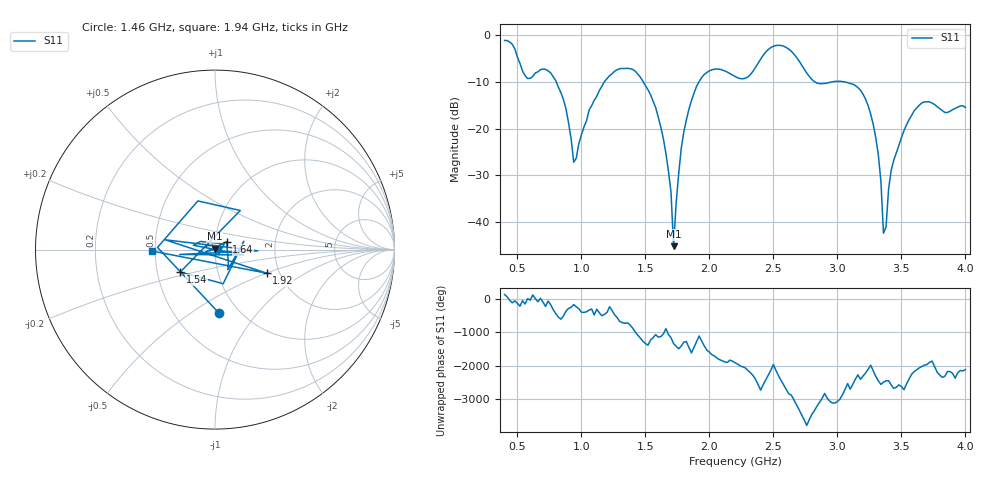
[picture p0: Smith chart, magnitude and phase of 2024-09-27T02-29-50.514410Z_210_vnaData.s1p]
!Created with skrf (http://scikit-rf.org).
# Hz S RI R 50.0
!freq ReS11 ImS11
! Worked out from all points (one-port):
!   181 points, 400 MHz to 4 GHz, reference 50 ohm
!   lowest |S11| = -45.1 dB at 1.72 GHz (marker M1), VSWR 1.01, Z = 49.8 + j0.526 ohm
!   |S11| at or under -10 dB: 803.3 MHz to 1.179 GHz (376.1 MHz wide, 37.9 % of centre); 1.482 GHz to 1.919 GHz (436.8 MHz wide, 25.7 % of centre); 3.044 GHz to end of sweep (the widest 3 of 4)
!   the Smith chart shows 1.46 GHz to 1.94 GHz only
!   S11 on the Smith chart (normalised r, x): 1.46 GHz: 0.81, -0.65; 1.54 GHz: 0.66, -0.17; 1.64 GHz: 1.13, +0.10; 1.92 GHz: 1.72, -0.50; 1.94 GHz: 0.48, -0.01
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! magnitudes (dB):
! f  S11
! 400 MHz  -1.2
! 580 MHz  -9.3
! 740 MHz  -7.7
! 860 MHz  -13.9
! 940 MHz  -27.2
! 1.06 GHz  -16.1
! 1.3 GHz  -7.2
! 1.46 GHz  -9.0
! 1.54 GHz  -12.8
! 1.64 GHz  -22.1
! 1.7 GHz  -33.6
! 1.72 GHz  -45.1
! 1.76 GHz  -29.7
! 1.82 GHz  -18.2
! 1.92 GHz  -10.0
! 1.94 GHz  -9.1
! 2.2 GHz  -8.9
! 2.5 GHz  -2.4
! 2.66 GHz  -4.1
! 2.84 GHz  -10.3
! 3.1 GHz  -10.4
! 3.28 GHz  -19.1
! 3.34 GHz  -31.3
! 3.36 GHz  -42.4
! 3.38 GHz  -41.0
! 3.42 GHz  -29.0
! 3.56 GHz  -18.1
! 4 GHz  -15.5
